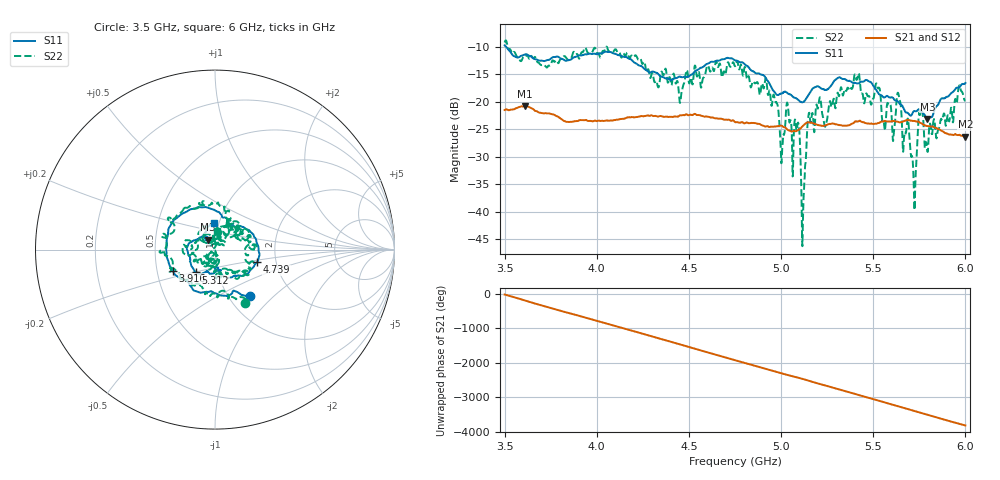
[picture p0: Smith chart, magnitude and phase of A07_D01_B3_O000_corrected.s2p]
! Created with skrf 1.9.0 (http://scikit-rf.org).
# Hz S RI R 50.0
!freq ReS11 ImS11 ReS21 ImS21 ReS12 ImS12 ReS22 ImS22
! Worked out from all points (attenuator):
!   1601 points, 3.5 GHz to 6 GHz, reference 50 ohm
!   highest |S21| = -20.83 dB at 3.611 GHz (marker M1); lowest = -26.4 dB at 6 GHz (marker M2)
!   lowest |S11| = -23.2 dB at 5.794 GHz (marker M3), VSWR 1.15, Z = 45.7 + j5.13 ohm
!   |S11| at or under -10 dB: 3.507 GHz to end of sweep
!   |S22| runs from -46.2 to -8.9 dB; largest |S21 - S12| = 0.0013
!   S11 on the Smith chart (normalised r, x): 3.5 GHz: 1.25, -0.72; 3.916 GHz: 0.61, -0.16; 4.739 GHz: 1.59, -0.24; 5.312 GHz: 0.79, -0.21; 6 GHz: 0.94, +0.28
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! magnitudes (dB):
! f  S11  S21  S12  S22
! 3.5 GHz  -9.8  -21.5  -21.5  -9.3
! 3.611 GHz  -11.4  -20.8  -20.9  -11.9
! 3.916 GHz  -11.6  -23.4  -23.4  -11.2
! 3.917 GHz  -11.6  -23.4  -23.4  -11.1
! 4.334 GHz  -15.0  -22.7  -22.7  -17.4
! 4.739 GHz  -12.3  -23.4  -23.5  -12.9
! 4.75 GHz  -12.5  -23.7  -23.7  -13.6
! 4.969 GHz  -18.5  -24.5  -24.5  -20.0
! 5.005 GHz  -18.5  -24.4  -24.4  -29.6
! 5.034 GHz  -18.5  -25.1  -25.0  -20.3
! 5.086 GHz  -19.5  -25.3  -25.3  -25.1
! 5.119 GHz  -20.1  -24.4  -24.3  -41.4
! 5.145 GHz  -19.0  -23.7  -23.7  -23.3
! 5.167 GHz  -17.8  -23.8  -23.8  -22.4
! 5.312 GHz  -15.6  -24.2  -24.2  -18.9
! 5.584 GHz  -19.2  -23.6  -23.6  -20.5
! 5.611 GHz  -19.5  -23.5  -23.5  -26.2
! 5.641 GHz  -20.3  -23.8  -23.7  -19.2
! 5.72 GHz  -21.7  -23.5  -23.5  -35.7
! 5.756 GHz  -21.6  -23.9  -23.8  -22.6
! 5.794 GHz  -23.2  -24.5  -24.4  -29.1
! 6 GHz  -16.6  -26.4  -26.3  -19.9
